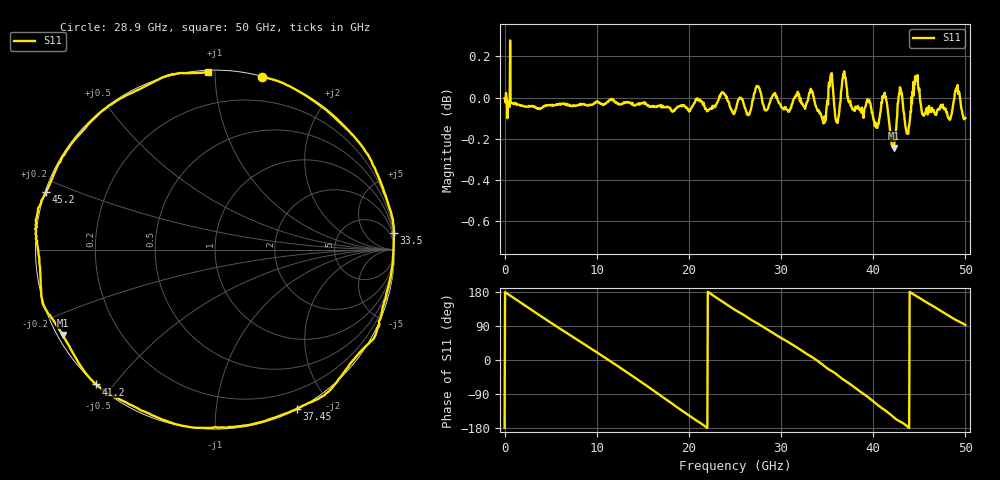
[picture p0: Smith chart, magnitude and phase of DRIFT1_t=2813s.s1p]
!Created with skrf (http://scikit-rf.org).
# Hz S RI R 50.0
!freq ReS11 ImS11
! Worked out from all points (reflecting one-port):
!   1001 points, 300 kHz to 50 GHz, reference 50 ohm
!   lowest |S11| = -0.2 dB at 42.2 GHz (marker M1), VSWR 71.11, Z = 0.751 - j13.1 ohm
!   phase of S11 starts at -179 deg and turns -809 deg over the sweep
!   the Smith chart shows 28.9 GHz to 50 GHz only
!   S11 on the Smith chart (normalised r, x): 28.9 GHz: 0.00, +1.31; 33.5 GHz: -0, +21; 37.45 GHz: 0.01, -1.64; 41.2 GHz: -0.00, -0.45; 45.2 GHz: 0.00, +0.17; 50 GHz: 0.01, +0.96
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300000  -0.9994 -0.0173
1.65029e9  -0.8866 0.453
3.450279e9  -0.5496 0.8286
6.250262e9  0.1919 0.9779
9.600242e9  0.8918 0.444
1.110023e10  0.9962 0.0483
1.250022e10  0.9383 -0.3353
1.580021e10  0.2654 -0.9589
1.73002e10  -0.1763 -0.9789
1.875019e10  -0.5755 -0.8115
2.050018e10  -0.9001 -0.4268
2.180017e10  -0.9914 -0.0728
2.345016e10  -0.9242 0.3869
2.500015e10  -0.6668 0.7344
2.715014e10  -0.1814 0.9862
2.890013e10  0.2638 0.964
3.125011e10  0.7602 0.6447
3.35001e10  0.9962 0.0935
3.545009e10  0.8894 -0.4854
3.745008e10  0.4548 -0.8872
3.750008e10  0.4401 -0.896
3.940006e10  -0.129 -0.9905
4.120005e10  -0.6623 -0.751
4.220005e10  -0.8479 -0.4757
4.375004e10  -0.9785 -0.0624
4.520003e10  -0.9412 0.3225
4.760001e10  -0.58 0.8076
5e10  -0.0404 0.9878
